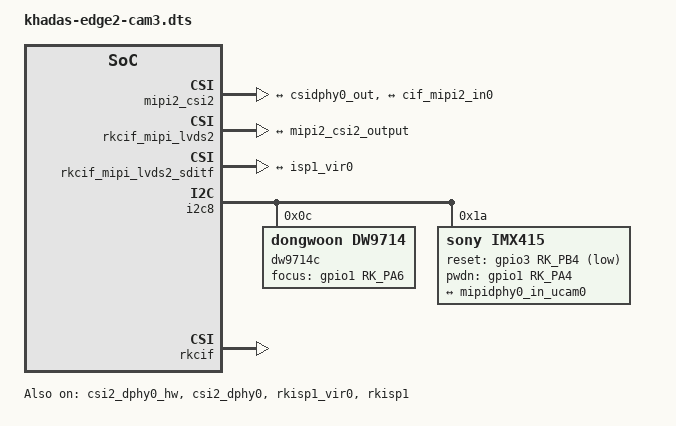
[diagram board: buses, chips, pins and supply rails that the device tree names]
/dts-v1/;
/plugin/;

#include <dt-bindings/clock/rk3588-cru.h>
#include <dt-bindings/power/rk3588-power.h>
#include <dt-bindings/gpio/gpio.h>
#include <dt-bindings/pinctrl/rockchip.h>

/ {
	fragment@0 {
		target = <&csi2_dphy0_hw>;

		__overlay__ {
			status = "okay";
		};
	};

	fragment@1 {
		target = <&csi2_dphy0>;

		__overlay__ {
			status = "okay";

			ports {
				#address-cells = <1>;
				#size-cells = <0>;
						
				port@0 {
					reg = <0>;
					#address-cells = <1>;
					#size-cells = <0>;
				
					mipidphy0_in_ucam0: endpoint@1 {
						reg = <1>;
						remote-endpoint = <&imx415c_out0>;
						data-lanes = <1 2 3 4>;
					};
				};
						
				port@1 {
					reg = <1>;
					#address-cells = <1>;
					#size-cells = <0>;
			
					csidphy0_out: endpoint@0 {
						reg = <0>;
						remote-endpoint = <&mipi2_csi2_input>;
					};
				};
			};			
		};
	};

	fragment@2 {
		target = <&mipi2_csi2>;

		__overlay__ {
			status = "okay";

			ports {
				#address-cells = <1>;
				#size-cells = <0>;
		
				port@0 {
					reg = <0>;
					#address-cells = <1>;
					#size-cells = <0>;
		
					mipi2_csi2_input: endpoint@1 {
						reg = <1>;
						remote-endpoint = <&csidphy0_out>;
					};
				};
		
				port@1 {
					reg = <1>;
					#address-cells = <1>;
					#size-cells = <0>;
		
					mipi2_csi2_output: endpoint@0 {
						reg = <0>;
						remote-endpoint = <&cif_mipi2_in0>;
					};
				};
			};					
		};
	};

	fragment@3 {
		target = <&rkcif_mipi_lvds2>;

		__overlay__ {
			status = "okay";

			port {
				cif_mipi2_in0: endpoint {
					remote-endpoint = <&mipi2_csi2_output>;
				};
			};				
		};
	};

	fragment@4 {
		target = <&rkcif_mipi_lvds2_sditf>;

		__overlay__ {
			status = "okay";

			port {
				mipi_lvds2_sditf: endpoint {
					remote-endpoint = <&isp1_vir0>;
				};
			};		
		};
	};

	fragment@5 {
		target = <&rkisp1_vir0>;

		__overlay__ {
			status = "okay";

			port {
				#address-cells = <1>;
				#size-cells = <0>;
		
				isp1_vir0: endpoint@0 {
					reg = <0>;
					remote-endpoint = <&mipi_lvds2_sditf>;
				};
			};					
		};
	};

	fragment@6 {
		target = <&i2c8>;

		__overlay__ {
			status = "okay";
			pinctrl-names = "default";
			pinctrl-0 = <&i2c8m2_xfer>;
		
			dw9714c: dw9714c@c {
				compatible = "dongwoon,dw9714";
				status = "okay";
				reg = <0x0c>;
				pinctrl-names = "focusc_gpios";
				pinctrl-0 = <&focusc_gpio>;
				focus-gpios = <&gpio1 RK_PA6 GPIO_ACTIVE_HIGH>;
				rockchip,vcm-start-current = <20>;
				rockchip,vcm-rated-current = <76>;
				rockchip,vcm-step-mode = <0>;
				rockchip,camera-module-index = <0>;
				rockchip,camera-module-facing = "back";
			};
		
			imx415: imx415@1a {
				compatible = "sony,imx415";
				reg = <0x1a>;
				clocks = <&cru CLK_MIPI_CAMARAOUT_M3>;
				clock-names = "xvclk";
				pinctrl-names = "default", "camc_gpios";
				pinctrl-0 = <&mipim1_camera3_clk>, <&camc_gpio>;
				power-domains = <&power RK3588_PD_VI>;
				reset-gpios = <&gpio3 RK_PB4 GPIO_ACTIVE_LOW>;	
				pwdn-gpios = <&gpio1 RK_PA4 GPIO_ACTIVE_HIGH>;
				rockchip,camera-module-index = <0>;
				rockchip,camera-module-facing = "back";
				rockchip,camera-module-name = "CMK-OT2022-PX1";
				rockchip,camera-module-lens-name = "IR0147-50IRC-8M-F20";
				lens-focus = <&dw9714c>;
				port {
					imx415c_out0: endpoint {
						remote-endpoint = <&mipidphy0_in_ucam0>;
						data-lanes = <1 2 3 4>;
					};
				};
			};			
		};
	};

	fragment@7 {
		target = <&pinctrl>;

		__overlay__ {
			cam3 {
				camc_gpio: camc-gpio {
					rockchip,pins =
						<3 RK_PB4 RK_FUNC_GPIO &pcfg_pull_none>,
						<1 RK_PA4 RK_FUNC_GPIO &pcfg_pull_none>;
				};

				focusc_gpio: focusc-gpio {
					rockchip,pins =
						<1 RK_PA6 RK_FUNC_GPIO &pcfg_pull_none>;
				};
			};
		};
	};

	fragment@8 {
		target = <&rkcif>;

		__overlay__ {
			status = "okay";
		};
	};

	fragment@9 {
		target = <&rkcif_mmu>;

		__overlay__ {
			status = "okay";
		};
	};

	fragment@10 {
		target = <&rkisp1>;

		__overlay__ {
			status = "okay";
		};
	};

	fragment@11 {
		target = <&isp1_mmu>;

		__overlay__ {
			status = "okay";
		};
	};
};
